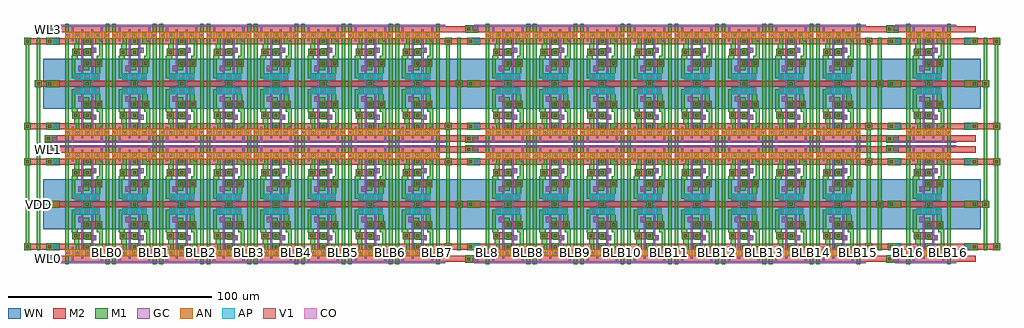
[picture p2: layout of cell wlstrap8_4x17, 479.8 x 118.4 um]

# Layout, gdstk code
import gdstk
lib = gdstk.Library(unit=1e-6, precision=1e-07)
def R(c, l, rs):  # rectangles x0, y0, x1, y1
    for r in rs: c.add(gdstk.rectangle(r[:2], r[2:], *l))
def A(c, l, x, y, w, h, nx, ny, dx, dy):  # array of equal rectangles
    R(c, l, [(x+i*dx, y+j*dy, x+i*dx+w, y+j*dy+h) for i in range(nx) for j in range(ny)])
def P(c, l, *ps):  # polygons
    for p in ps: c.add(gdstk.Polygon(p, *l))
AP = (3, 1)
AN = (3, 2)
GC = (8, 1)
CO = (11, 0)
M1 = (13, 0)
V1 = (19, 0)
M2 = (20, 0)
WN = (140, 0)

euler = lib.new_cell('euler')
R(euler, AP, [(3.5,18.7,15.7,22.1)])
R(euler, AN, [(-1.3,-1.7,20.5,1.7)])
R(euler, GC, [(0,-5.1,23.2,-4.1), (1.9,-5.1,2.9,2.9), (16.3,-5.1,17.3,2.9), (6.7,-2.9,7.7,23.3), (11.5,-2.9,12.5,23.3), (11.5,6.1,14.1,8.7), (11.5,6.9,13.3,7.9), (5.1,15.1,7.7,17.7), (5.9,15.9,7.7,16.9)])
A(euler, CO, -0.5, -0.5, 1, 1, 5, 1, 4.8, 0)
A(euler, CO, 4.3, 19.9, 1, 1, 3, 1, 4.8, 0)
R(euler, CO, [(12.3,6.9,13.3,7.9), (5.9,15.9,6.9,16.9)])
P(euler, M1, [(8.3,-1.3),(8.3,1.3),(7.9,1.3),(7.9,4.7),(11.3,4.7),(11.3,1.3),(10.9,1.3),(10.9,-1.3)],
  [(11.5,6.1),(11.5,6.5),(8.7,6.5),(8.7,6.7),(7.9,6.7),(7.9,10.1),(11.3,10.1),(11.3,8.7),(14.1,8.7),(14.1,6.1)],
  [(7.9,12.1),(7.9,15.1),(5.1,15.1),(5.1,17.7),(7.7,17.7),(7.7,17.3),(10.5,17.3),(10.5,15.5),(11.3,15.5),(11.3,12.1)],
  [(3.5,-1.3),(3.5,1.3),(3.9,1.3),(3.9,4.1),(3.1,4.1),(3.1,6.7),(2.3,6.7),(2.3,10.1),(1.9,10.1),(1.9,21.3),(3.5,21.3),(3.5,21.7),(6.1,21.7),(6.1,19.1),(3.7,19.1),(3.7,11.9),(4.9,11.9),(4.9,10.1),(5.7,10.1),(5.7,1.3),(6.1,1.3),(6.1,-1.3)],
  [(13.1,-1.3),(13.1,1.3),(13.5,1.3),(13.5,4.5),(15.5,4.5),(15.5,10.1),(14.3,10.1),(14.3,12.1),(13.5,12.1),(13.5,19.1),(13.1,19.1),(13.1,21.7),(15.7,21.7),(15.7,18.7),(16.1,18.7),(16.1,15.5),(16.9,15.5),(16.9,11.9),(17.3,11.9),(17.3,2.7),(15.7,2.7),(15.7,-1.3)],
  [(-1.3,-5.7),(-1.3,23.9),(0.5,23.9),(0.5,1.3),(1.3,1.3),(1.3,-1.3),(0.5,-1.3),(0.5,-5.7)],
  [(18.7,-5.7),(18.7,-1.3),(17.9,-1.3),(17.9,1.3),(18.7,1.3),(18.7,23.9),(20.5,23.9),(20.5,-5.7)],
  [(8.3,19.1),(8.3,22.2),(7.9,22.2),(7.9,25.6),(11.3,25.6),(11.3,22.2),(10.9,22.2),(10.9,19.1)])
A(euler, V1, 8.9, 2.3, 1.4, 1.4, 1, 3, 0, 5.4)
R(euler, V1, [(3.3,7.7,4.7,9.1), (14.5,13.1,15.9,14.5), (8.9,23.2,10.3,24.6)])
A(euler, M2, 7.9, 1.3, 3.4, 3.4, 1, 3, 0, 5.4)
R(euler, M2, [(0,-4.5,23.2,-1.5), (0,1.5,23.2,4.5), (2.3,6.7,5.7,10.1), (2.3,6.7,11.3,10.1), (7.9,12.1,16.9,15.5), (13.5,12.1,16.9,15.5), (7.9,22.2,11.3,25.6), (0,22.4,23.2,25.4)])
R(euler, WN, [(-3.5,11.7,26.7,29.1)])

wlstrap8_4x17 = lib.new_cell('wlstrap8_4x17')
A(wlstrap8_4x17, AP, -6.9, 7.4, 2.6, 2.6, 3, 2, 206.8, 41.8)
A(wlstrap8_4x17, AP, -6.9, 66.6, 2.6, 2.6, 3, 2, 206.8, 41.8)
R(wlstrap8_4x17, AP, [(441.1,7.4,443.7,10), (441.1,49.2,443.7,51.8), (441.1,66.6,443.7,69.2), (441.1,108.4,443.7,111)])
A(wlstrap8_4x17, AN, -6.9, 28.3, 2.6, 2.6, 3, 2, 206.8, 59.2)
R(wlstrap8_4x17, AN, [(441.1,28.3,443.7,30.9), (441.1,87.5,443.7,90.1)])
A(wlstrap8_4x17, GC, -6.9, 0.6, 1, 1.9, 3, 2, 206.8, 56.1)
A(wlstrap8_4x17, GC, -6.4, 0.6, 6.4, 1, 3, 2, 206.8, 57)
A(wlstrap8_4x17, GC, -7.7, 0.7, 2.6, 2.6, 3, 2, 206.8, 55.2)
A(wlstrap8_4x17, GC, -6.9, 59.8, 1, 1.9, 3, 2, 206.8, 56.1)
A(wlstrap8_4x17, GC, -6.4, 59.8, 6.4, 1, 3, 2, 206.8, 57)
A(wlstrap8_4x17, GC, -7.7, 59.9, 2.6, 2.6, 3, 2, 206.8, 55.2)
A(wlstrap8_4x17, CO, -6.9, 1.5, 1, 1, 3, 2, 206.8, 55.2)
A(wlstrap8_4x17, CO, -6.1, 8.2, 1, 1, 3, 3, 206.8, 20.9)
A(wlstrap8_4x17, CO, 441.9, 8.2, 1, 1, 1, 3, 0, 20.9)
A(wlstrap8_4x17, CO, -6.9, 60.7, 1, 1, 3, 2, 206.8, 55.2)
A(wlstrap8_4x17, CO, -6.1, 67.4, 1, 1, 3, 3, 206.8, 20.9)
A(wlstrap8_4x17, CO, 441.9, 67.4, 1, 1, 1, 3, 0, 20.9)
A(wlstrap8_4x17, M1, -11.3, 0.7, 6.2, 3.7, 3, 2, 206.8, 54.1)
A(wlstrap8_4x17, M1, -7.7, 0.7, 2.6, 2.6, 3, 2, 206.8, 55.2)
A(wlstrap8_4x17, M1, -11.3, 1, 3.4, 3.4, 3, 2, 206.8, 53.8)
A(wlstrap8_4x17, M1, -10.5, 7, 3.4, 3.4, 1, 3, 0, 20.9)
A(wlstrap8_4x17, M1, -10.5, 7, 6.6, 3.4, 3, 3, 206.8, 20.9)
A(wlstrap8_4x17, M1, 196.3, 7, 3.4, 3.4, 1, 3, 0, 20.9)
A(wlstrap8_4x17, M1, 403.1, 7, 3.4, 3.4, 1, 3, 0, 20.9)
A(wlstrap8_4x17, M1, 440.7, 7, 6.6, 3.4, 1, 3, 0, 20.9)
A(wlstrap8_4x17, M1, 443.9, 7, 3.4, 3.4, 1, 3, 0, 20.9)
A(wlstrap8_4x17, M1, -6.9, 7.4, 2.6, 2.6, 3, 3, 206.8, 20.9)
A(wlstrap8_4x17, M1, 441.1, 7.4, 2.6, 2.6, 1, 3, 0, 20.9)
A(wlstrap8_4x17, M1, -11.3, 59.9, 6.2, 3.7, 3, 2, 206.8, 54.1)
A(wlstrap8_4x17, M1, -7.7, 59.9, 2.6, 2.6, 3, 2, 206.8, 55.2)
A(wlstrap8_4x17, M1, -11.3, 60.2, 3.4, 3.4, 3, 2, 206.8, 53.8)
A(wlstrap8_4x17, M1, -10.5, 66.2, 3.4, 3.4, 1, 3, 0, 20.9)
A(wlstrap8_4x17, M1, -10.5, 66.2, 6.6, 3.4, 3, 3, 206.8, 20.9)
A(wlstrap8_4x17, M1, 196.3, 66.2, 3.4, 3.4, 1, 3, 0, 20.9)
A(wlstrap8_4x17, M1, 403.1, 66.2, 3.4, 3.4, 1, 3, 0, 20.9)
A(wlstrap8_4x17, M1, 440.7, 66.2, 6.6, 3.4, 1, 3, 0, 20.9)
A(wlstrap8_4x17, M1, 443.9, 66.2, 3.4, 3.4, 1, 3, 0, 20.9)
A(wlstrap8_4x17, M1, -6.9, 66.6, 2.6, 2.6, 3, 3, 206.8, 20.9)
A(wlstrap8_4x17, M1, 441.1, 66.6, 2.6, 2.6, 1, 3, 0, 20.9)
R(wlstrap8_4x17, M1, [(-21.5,7,-18.1,10.4), (-20.7,7,-18.9,111.4), (-15.3,7,-13.5,111.4), (185.3,7,188.7,10.4), (186.1,7,187.9,111.4), (191.5,7,193.3,111.4), (392.1,7,395.5,10.4), (392.9,7,394.7,111.4), (398.3,7,400.1,111.4), (450.3,7,452.1,111.4), (454.9,7,458.3,10.4), (455.7,7,457.5,111.4), (-16.1,27.9,-12.7,31.3), (190.7,27.9,194.1,31.3), (397.5,27.9,400.9,31.3), (449.5,27.9,452.9,31.3), (-21.5,48.8,-18.1,52.2), (185.3,48.8,188.7,52.2), (392.1,48.8,395.5,52.2), (454.9,48.8,458.3,52.2), (-21.5,66.2,-18.1,69.6), (185.3,66.2,188.7,69.6), (392.1,66.2,395.5,69.6), (454.9,66.2,458.3,69.6), (-16.1,87.1,-12.7,90.5), (190.7,87.1,194.1,90.5), (397.5,87.1,400.9,90.5), (449.5,87.1,452.9,90.5), (-21.5,108,-18.1,111.4), (185.3,108,188.7,111.4), (392.1,108,395.5,111.4), (454.9,108,458.3,111.4)])
A(wlstrap8_4x17, V1, -10.3, 2, 1.4, 1.4, 3, 2, 206.8, 53.8)
A(wlstrap8_4x17, V1, -9.5, 8, 1.4, 1.4, 1, 3, 0, 20.9)
A(wlstrap8_4x17, V1, 197.3, 8, 1.4, 1.4, 1, 3, 0, 20.9)
A(wlstrap8_4x17, V1, 404.1, 8, 1.4, 1.4, 1, 3, 0, 20.9)
A(wlstrap8_4x17, V1, 444.9, 8, 1.4, 1.4, 1, 3, 0, 20.9)
A(wlstrap8_4x17, V1, -10.3, 61.2, 1.4, 1.4, 3, 2, 206.8, 53.8)
A(wlstrap8_4x17, V1, -9.5, 67.2, 1.4, 1.4, 1, 3, 0, 20.9)
A(wlstrap8_4x17, V1, 197.3, 67.2, 1.4, 1.4, 1, 3, 0, 20.9)
A(wlstrap8_4x17, V1, 404.1, 67.2, 1.4, 1.4, 1, 3, 0, 20.9)
A(wlstrap8_4x17, V1, 444.9, 67.2, 1.4, 1.4, 1, 3, 0, 20.9)
R(wlstrap8_4x17, V1, [(-20.5,8,-19.1,9.4), (186.3,8,187.7,9.4), (393.1,8,394.5,9.4), (455.9,8,457.3,9.4), (-15.1,28.9,-13.7,30.3), (191.7,28.9,193.1,30.3), (398.5,28.9,399.9,30.3), (450.5,28.9,451.9,30.3), (-20.5,49.8,-19.1,51.2), (186.3,49.8,187.7,51.2), (393.1,49.8,394.5,51.2), (455.9,49.8,457.3,51.2), (-20.5,67.2,-19.1,68.6), (186.3,67.2,187.7,68.6), (393.1,67.2,394.5,68.6), (455.9,67.2,457.3,68.6), (-15.1,88.1,-13.7,89.5), (191.7,88.1,193.1,89.5), (398.5,88.1,399.9,89.5), (450.5,88.1,451.9,89.5), (-20.5,109,-19.1,110.4), (186.3,109,187.7,110.4), (393.1,109,394.5,110.4), (455.9,109,457.3,110.4)])
A(wlstrap8_4x17, M2, -11.3, 1, 3.4, 3.4, 3, 2, 206.8, 53.8)
A(wlstrap8_4x17, M2, -10.5, 7, 3.4, 3.4, 1, 3, 0, 20.9)
A(wlstrap8_4x17, M2, 196.3, 7, 3.4, 3.4, 1, 3, 0, 20.9)
A(wlstrap8_4x17, M2, 403.1, 7, 3.4, 3.4, 1, 3, 0, 20.9)
A(wlstrap8_4x17, M2, 443.9, 7, 3.4, 3.4, 1, 3, 0, 20.9)
A(wlstrap8_4x17, M2, -11.3, 60.2, 3.4, 3.4, 3, 2, 206.8, 53.8)
A(wlstrap8_4x17, M2, -10.5, 66.2, 3.4, 3.4, 1, 3, 0, 20.9)
A(wlstrap8_4x17, M2, 196.3, 66.2, 3.4, 3.4, 1, 3, 0, 20.9)
A(wlstrap8_4x17, M2, 403.1, 66.2, 3.4, 3.4, 1, 3, 0, 20.9)
A(wlstrap8_4x17, M2, 443.9, 66.2, 3.4, 3.4, 1, 3, 0, 20.9)
R(wlstrap8_4x17, M2, [(-9.6,1.2,446.4,4.2), (-21.5,7,-18.1,10.4), (185.3,7,188.7,10.4), (392.1,7,395.5,10.4), (454.9,7,458.3,10.4), (-21.5,7.2,438.5,10.2), (-1.7,7.2,458.3,10.2), (-1.7,7.2,438.5,10.2), (-1.7,7.2,438.5,10.2), (-16.1,27.9,-12.7,31.3), (190.7,27.9,194.1,31.3), (397.5,27.9,400.9,31.3), (449.5,27.9,452.9,31.3), (-16.1,28.1,438.5,31.1), (-1.7,28.1,452.9,31.1), (-1.7,28.1,438.5,31.1), (-1.7,28.1,438.5,31.1), (-21.5,48.8,-18.1,52.2), (185.3,48.8,188.7,52.2), (392.1,48.8,395.5,52.2), (454.9,48.8,458.3,52.2), (-21.5,49,438.5,52), (-1.7,49,458.3,52), (-1.7,49,438.5,52), (-1.7,49,438.5,52), (-9.6,55,446.4,58), (-9.6,60.4,446.4,63.4), (-21.5,66.2,-18.1,69.6), (185.3,66.2,188.7,69.6), (392.1,66.2,395.5,69.6), (454.9,66.2,458.3,69.6), (-21.5,66.4,438.5,69.4), (-1.7,66.4,458.3,69.4), (-1.7,66.4,438.5,69.4), (-1.7,66.4,438.5,69.4), (-16.1,87.1,-12.7,90.5), (190.7,87.1,194.1,90.5), (397.5,87.1,400.9,90.5), (449.5,87.1,452.9,90.5), (-16.1,87.3,438.5,90.3), (-1.7,87.3,452.9,90.3), (-1.7,87.3,438.5,90.3), (-1.7,87.3,438.5,90.3), (-21.5,108,-18.1,111.4), (185.3,108,188.7,111.4), (392.1,108,395.5,111.4), (454.9,108,458.3,111.4), (-21.5,108.2,438.5,111.2), (-1.7,108.2,458.3,111.2), (-1.7,108.2,438.5,111.2), (-1.7,108.2,438.5,111.2), (-9.6,114.2,446.4,117.2)])
R(wlstrap8_4x17, WN, [(-12,17.4,448.8,41.8), (0,17.4,448.8,41.8), (194.8,17.4,448.8,41.8), (401.6,17.4,448.8,41.8), (-12,76.6,448.8,101), (0,76.6,448.8,101), (194.8,76.6,448.8,101), (401.6,76.6,448.8,101)])
wlstrap8_4x17.add(gdstk.Reference(euler, (0,5.7)))
wlstrap8_4x17.add(gdstk.Reference(euler, (23.2,5.7)))
wlstrap8_4x17.add(gdstk.Reference(euler, (46.4,5.7)))
wlstrap8_4x17.add(gdstk.Reference(euler, (69.6,5.7)))
wlstrap8_4x17.add(gdstk.Reference(euler, (92.8,5.7)))
wlstrap8_4x17.add(gdstk.Reference(euler, (116,5.7)))
wlstrap8_4x17.add(gdstk.Reference(euler, (139.2,5.7)))
wlstrap8_4x17.add(gdstk.Reference(euler, (162.4,5.7)))
wlstrap8_4x17.add(gdstk.Reference(euler, (206.8,5.7)))
wlstrap8_4x17.add(gdstk.Reference(euler, (230,5.7)))
wlstrap8_4x17.add(gdstk.Reference(euler, (253.2,5.7)))
wlstrap8_4x17.add(gdstk.Reference(euler, (276.4,5.7)))
wlstrap8_4x17.add(gdstk.Reference(euler, (299.6,5.7)))
wlstrap8_4x17.add(gdstk.Reference(euler, (322.8,5.7)))
wlstrap8_4x17.add(gdstk.Reference(euler, (346,5.7)))
wlstrap8_4x17.add(gdstk.Reference(euler, (369.2,5.7)))
wlstrap8_4x17.add(gdstk.Reference(euler, (413.6,5.7)))
wlstrap8_4x17.add(gdstk.Reference(euler, (0,53.5), x_reflection=True))
wlstrap8_4x17.add(gdstk.Reference(euler, (23.2,53.5), x_reflection=True))
wlstrap8_4x17.add(gdstk.Reference(euler, (46.4,53.5), x_reflection=True))
wlstrap8_4x17.add(gdstk.Reference(euler, (69.6,53.5), x_reflection=True))
wlstrap8_4x17.add(gdstk.Reference(euler, (92.8,53.5), x_reflection=True))
wlstrap8_4x17.add(gdstk.Reference(euler, (116,53.5), x_reflection=True))
wlstrap8_4x17.add(gdstk.Reference(euler, (139.2,53.5), x_reflection=True))
wlstrap8_4x17.add(gdstk.Reference(euler, (162.4,53.5), x_reflection=True))
wlstrap8_4x17.add(gdstk.Reference(euler, (206.8,53.5), x_reflection=True))
wlstrap8_4x17.add(gdstk.Reference(euler, (230,53.5), x_reflection=True))
wlstrap8_4x17.add(gdstk.Reference(euler, (253.2,53.5), x_reflection=True))
wlstrap8_4x17.add(gdstk.Reference(euler, (276.4,53.5), x_reflection=True))
wlstrap8_4x17.add(gdstk.Reference(euler, (299.6,53.5), x_reflection=True))
wlstrap8_4x17.add(gdstk.Reference(euler, (322.8,53.5), x_reflection=True))
wlstrap8_4x17.add(gdstk.Reference(euler, (346,53.5), x_reflection=True))
wlstrap8_4x17.add(gdstk.Reference(euler, (369.2,53.5), x_reflection=True))
wlstrap8_4x17.add(gdstk.Reference(euler, (413.6,53.5), x_reflection=True))
wlstrap8_4x17.add(gdstk.Reference(euler, (0,64.9)))
wlstrap8_4x17.add(gdstk.Reference(euler, (23.2,64.9)))
wlstrap8_4x17.add(gdstk.Reference(euler, (46.4,64.9)))
wlstrap8_4x17.add(gdstk.Reference(euler, (69.6,64.9)))
wlstrap8_4x17.add(gdstk.Reference(euler, (92.8,64.9)))
wlstrap8_4x17.add(gdstk.Reference(euler, (116,64.9)))
wlstrap8_4x17.add(gdstk.Reference(euler, (139.2,64.9)))
wlstrap8_4x17.add(gdstk.Reference(euler, (162.4,64.9)))
wlstrap8_4x17.add(gdstk.Reference(euler, (206.8,64.9)))
wlstrap8_4x17.add(gdstk.Reference(euler, (230,64.9)))
wlstrap8_4x17.add(gdstk.Reference(euler, (253.2,64.9)))
wlstrap8_4x17.add(gdstk.Reference(euler, (276.4,64.9)))
wlstrap8_4x17.add(gdstk.Reference(euler, (299.6,64.9)))
wlstrap8_4x17.add(gdstk.Reference(euler, (322.8,64.9)))
wlstrap8_4x17.add(gdstk.Reference(euler, (346,64.9)))
wlstrap8_4x17.add(gdstk.Reference(euler, (369.2,64.9)))
wlstrap8_4x17.add(gdstk.Reference(euler, (413.6,64.9)))
wlstrap8_4x17.add(gdstk.Reference(euler, (0,112.7), x_reflection=True))
wlstrap8_4x17.add(gdstk.Reference(euler, (23.2,112.7), x_reflection=True))
wlstrap8_4x17.add(gdstk.Reference(euler, (46.4,112.7), x_reflection=True))
wlstrap8_4x17.add(gdstk.Reference(euler, (69.6,112.7), x_reflection=True))
wlstrap8_4x17.add(gdstk.Reference(euler, (92.8,112.7), x_reflection=True))
wlstrap8_4x17.add(gdstk.Reference(euler, (116,112.7), x_reflection=True))
wlstrap8_4x17.add(gdstk.Reference(euler, (139.2,112.7), x_reflection=True))
wlstrap8_4x17.add(gdstk.Reference(euler, (162.4,112.7), x_reflection=True))
wlstrap8_4x17.add(gdstk.Reference(euler, (206.8,112.7), x_reflection=True))
wlstrap8_4x17.add(gdstk.Reference(euler, (230,112.7), x_reflection=True))
wlstrap8_4x17.add(gdstk.Reference(euler, (253.2,112.7), x_reflection=True))
wlstrap8_4x17.add(gdstk.Reference(euler, (276.4,112.7), x_reflection=True))
wlstrap8_4x17.add(gdstk.Reference(euler, (299.6,112.7), x_reflection=True))
wlstrap8_4x17.add(gdstk.Reference(euler, (322.8,112.7), x_reflection=True))
wlstrap8_4x17.add(gdstk.Reference(euler, (346,112.7), x_reflection=True))
wlstrap8_4x17.add(gdstk.Reference(euler, (369.2,112.7), x_reflection=True))
wlstrap8_4x17.add(gdstk.Reference(euler, (413.6,112.7), x_reflection=True))
wlstrap8_4x17.add(gdstk.Label('WL0', (-9.6,2.7), layer=49, texttype=0))
wlstrap8_4x17.add(gdstk.Label('WL1', (-9.6,56.5), layer=49, texttype=0))
wlstrap8_4x17.add(gdstk.Label('WL2', (-9.6,61.9), layer=49, texttype=0))
wlstrap8_4x17.add(gdstk.Label('WL3', (-9.6,115.7), layer=49, texttype=0))
wlstrap8_4x17.add(gdstk.Label('VDD', (-14.4,29.6), layer=48, texttype=0))
wlstrap8_4x17.add(gdstk.Label('VSS', (-19.8,8.7), layer=48, texttype=0))
wlstrap8_4x17.add(gdstk.Label('BL0', (-0.4,5.7), layer=48, texttype=0))
wlstrap8_4x17.add(gdstk.Label('BLB0', (19.6,5.7), layer=48, texttype=0))
wlstrap8_4x17.add(gdstk.Label('BL1', (22.8,5.7), layer=48, texttype=0))
wlstrap8_4x17.add(gdstk.Label('BLB1', (42.8,5.7), layer=48, texttype=0))
wlstrap8_4x17.add(gdstk.Label('BL2', (46,5.7), layer=48, texttype=0))
wlstrap8_4x17.add(gdstk.Label('BLB2', (66,5.7), layer=48, texttype=0))
wlstrap8_4x17.add(gdstk.Label('BL3', (69.2,5.7), layer=48, texttype=0))
wlstrap8_4x17.add(gdstk.Label('BLB3', (89.2,5.7), layer=48, texttype=0))
wlstrap8_4x17.add(gdstk.Label('BL4', (92.4,5.7), layer=48, texttype=0))
wlstrap8_4x17.add(gdstk.Label('BLB4', (112.4,5.7), layer=48, texttype=0))
wlstrap8_4x17.add(gdstk.Label('BL5', (115.6,5.7), layer=48, texttype=0))
wlstrap8_4x17.add(gdstk.Label('BLB5', (135.6,5.7), layer=48, texttype=0))
wlstrap8_4x17.add(gdstk.Label('BL6', (138.8,5.7), layer=48, texttype=0))
wlstrap8_4x17.add(gdstk.Label('BLB6', (158.8,5.7), layer=48, texttype=0))
wlstrap8_4x17.add(gdstk.Label('BL7', (162,5.7), layer=48, texttype=0))
wlstrap8_4x17.add(gdstk.Label('BLB7', (182,5.7), layer=48, texttype=0))
wlstrap8_4x17.add(gdstk.Label('BL8', (206.4,5.7), layer=48, texttype=0))
wlstrap8_4x17.add(gdstk.Label('BLB8', (226.4,5.7), layer=48, texttype=0))
wlstrap8_4x17.add(gdstk.Label('BL9', (229.6,5.7), layer=48, texttype=0))
wlstrap8_4x17.add(gdstk.Label('BLB9', (249.6,5.7), layer=48, texttype=0))
wlstrap8_4x17.add(gdstk.Label('BL10', (252.8,5.7), layer=48, texttype=0))
wlstrap8_4x17.add(gdstk.Label('BLB10', (272.8,5.7), layer=48, texttype=0))
wlstrap8_4x17.add(gdstk.Label('BL11', (276,5.7), layer=48, texttype=0))
wlstrap8_4x17.add(gdstk.Label('BLB11', (296,5.7), layer=48, texttype=0))
wlstrap8_4x17.add(gdstk.Label('BL12', (299.2,5.7), layer=48, texttype=0))
wlstrap8_4x17.add(gdstk.Label('BLB12', (319.2,5.7), layer=48, texttype=0))
wlstrap8_4x17.add(gdstk.Label('BL13', (322.4,5.7), layer=48, texttype=0))
wlstrap8_4x17.add(gdstk.Label('BLB13', (342.4,5.7), layer=48, texttype=0))
wlstrap8_4x17.add(gdstk.Label('BL14', (345.6,5.7), layer=48, texttype=0))
wlstrap8_4x17.add(gdstk.Label('BLB14', (365.6,5.7), layer=48, texttype=0))
wlstrap8_4x17.add(gdstk.Label('BL15', (368.8,5.7), layer=48, texttype=0))
wlstrap8_4x17.add(gdstk.Label('BLB15', (388.8,5.7), layer=48, texttype=0))
wlstrap8_4x17.add(gdstk.Label('BL16', (413.2,5.7), layer=48, texttype=0))
wlstrap8_4x17.add(gdstk.Label('BLB16', (433.2,5.7), layer=48, texttype=0))

lib.write_gds('wlstrap8_4x17.gds')
